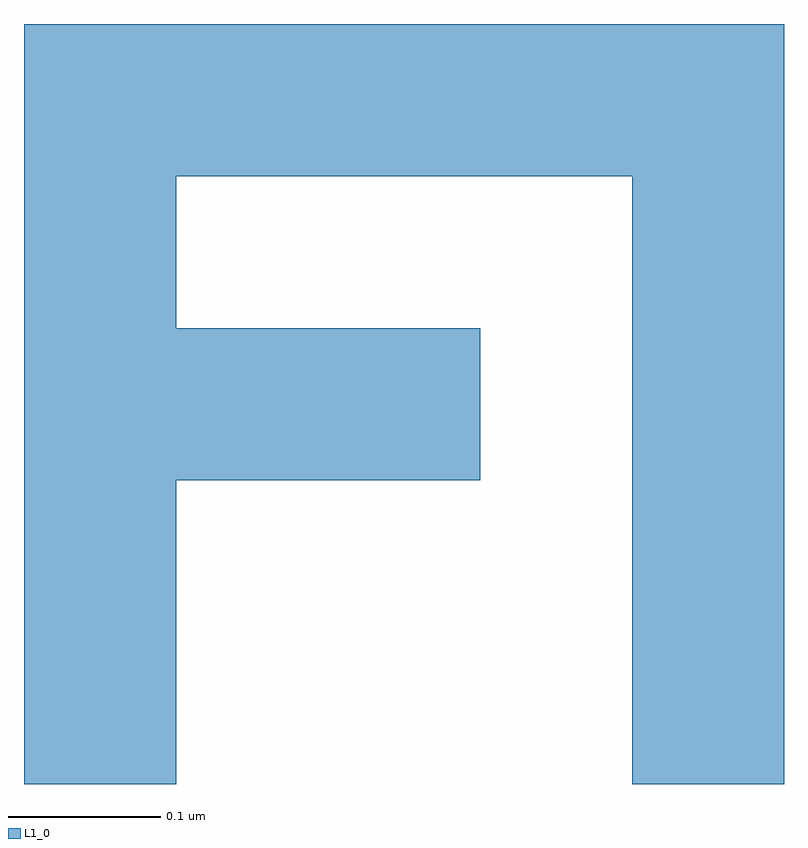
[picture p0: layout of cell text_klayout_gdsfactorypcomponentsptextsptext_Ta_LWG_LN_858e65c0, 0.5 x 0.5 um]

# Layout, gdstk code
import gdstk
lib = gdstk.Library(unit=1e-6, precision=1e-09)
def R(c, l, rs):  # rectangles x0, y0, x1, y1
    for r in rs: c.add(gdstk.rectangle(r[:2], r[2:], *l))
def A(c, l, x, y, w, h, nx, ny, dx, dy):  # array of equal rectangles
    R(c, l, [(x+i*dx, y+j*dy, x+i*dx+w, y+j*dy+h) for i in range(nx) for j in range(ny)])
L1_0 = (1, 0)

text_klayout_gdsfactoryp = lib.new_cell('text_klayout_gdsfactorypcomponentsptextsptext_Ta_LWG_LN_858e65c0')
A(text_klayout_gdsfactoryp, L1_0, 0.4, 0, 0.1, 0.1, 1, 4, 0, 0.1)
A(text_klayout_gdsfactoryp, L1_0, 0, 0.2, 0.1, 0.1, 3, 1, 0.1, 0)
A(text_klayout_gdsfactoryp, L1_0, 0, 0.4, 0.1, 0.1, 5, 1, 0.1, 0)
R(text_klayout_gdsfactoryp, L1_0, [(0,0,0.1,0.1), (0,0.1,0.1,0.2), (0,0.3,0.1,0.4)])

lib.write_gds('text_klayout_gdsfactorypcomponentsptextsptext_Ta_LWG_LN_858e65c0.gds')
